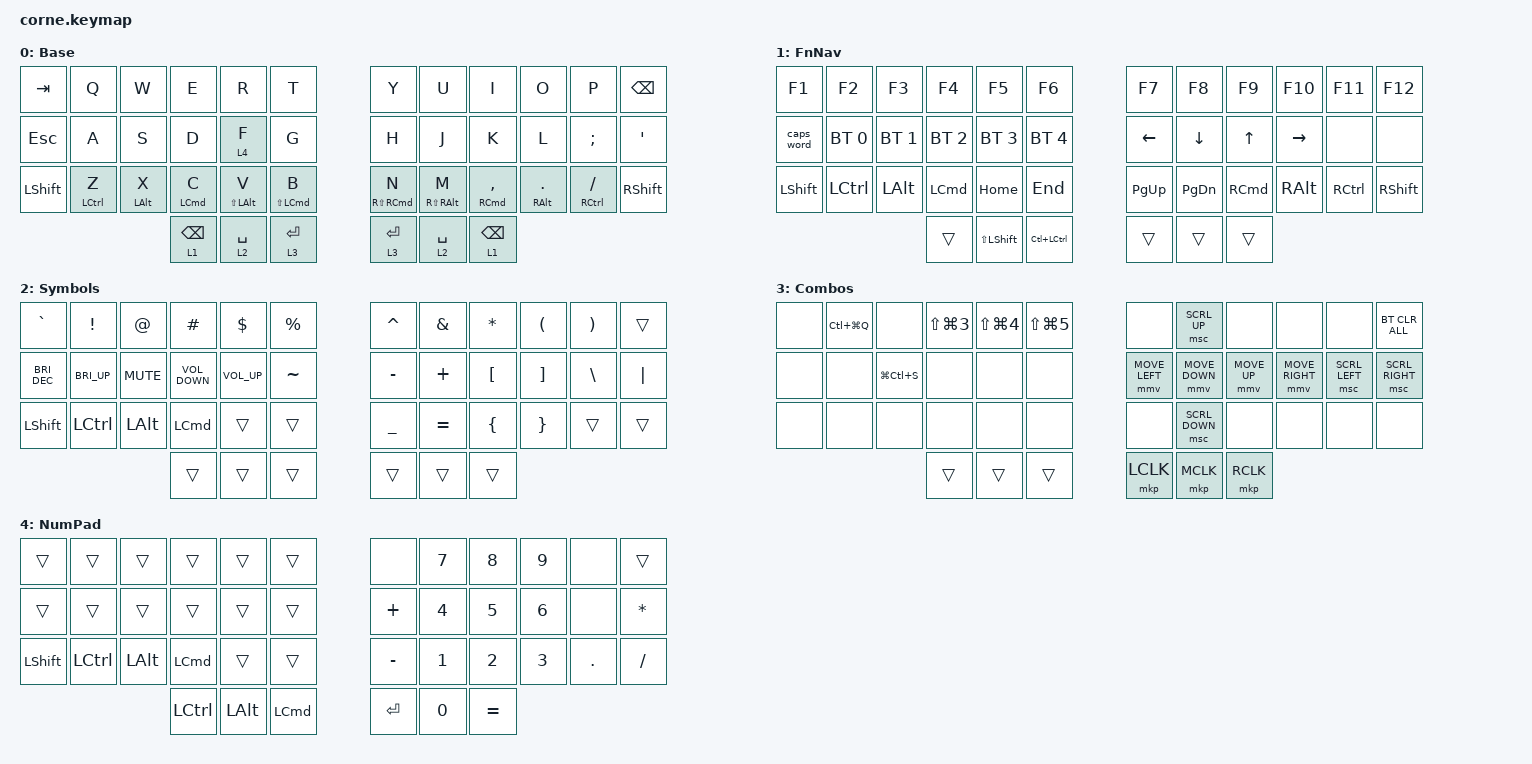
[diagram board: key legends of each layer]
#define ZMK_POINTING_DEFAULT_MOVE_VAL 1500  // default: 600
#define ZMK_POINTING_DEFAULT_SCRL_VAL 20    // default: 10

#include <behaviors.dtsi>
#include <dt-bindings/zmk/bt.h>
#include <dt-bindings/zmk/keys.h>
#include <dt-bindings/zmk/pointing.h>

#define DEF 0
#define NAV 1
#define SYM 2
#define ADJ 3
#define EXTRA 4

/ {
    behaviors {
        hm: homerow_mods {
            compatible = "zmk,behavior-hold-tap";
            label = "HOMEROW_MODS";
            #binding-cells = <2>;
            tapping-term-ms = <200>;
            quick_tap_ms = <0>;
            flavor = "tap-preferred";
            bindings = <&kp>, <&kp>;

            quick-tap-ms = <180>;
            global-quick-tap;
        };

        para: para {
            compatible = "zmk,behavior-tap-dance";
            label = "PARA";
            #binding-cells = <0>;
            bindings = <&kp LEFT_PARENTHESIS>, <&kp RIGHT_PARENTHESIS>;
        };

        caps: caps {
            compatible = "zmk,behavior-caps-word";
            label = "CAPS";
            #binding-cells = <0>;
            continue-list = <MINUS BACKSPACE>;
        };

        paraless: paraless {
            compatible = "zmk,behavior-mod-morph";
            label = "PARALESS";
            bindings = <&kp LEFT_PARENTHESIS>, <&kp LESS_THAN>;

            #binding-cells = <0>;
            mods = <(MOD_LSFT)>;
        };

        paragreat: paragreat {
            compatible = "zmk,behavior-mod-morph";
            label = "PARAGREAT";
            bindings = <&kp RIGHT_PARENTHESIS>, <&kp GREATER_THAN>;

            #binding-cells = <0>;
            mods = <(MOD_LSFT)>;
        };
    };

    macros {
        browsertab: browsertab {
            compatible = "zmk,behavior-macro";
            #binding-cells = <0>;
            bindings =
                <&macro_press>,
                <&kp LCTRL>,
                <&macro_tap>,
                <&kp TAB>,
                <&macro_release>,
                <&kp LCTRL>;
        };
    };

    combos { compatible = "zmk,combos"; };

    //

    keymap {
        compatible = "zmk,keymap";

        DEF {
            display-name = "Base";

            // -----------------------------------------------------------------------------------------
            // |  Q  |  W  |  E  |  R  |  T  |   |  Y  |  U   |  I  |  O  |  P  |
            // |  A  |  S  |  D  |  F  |  G  |   |  H  |  J   |  K  |  L  |  ;  |
            // |  Z  |  X  |  C  |  V  |  B  |   |  N  |  M   |  ,  |  .  |  /  |
            // | GUI | CTRL | SHFT | LWR | SPC |   | ENT | RSE  | BKSP | ALT | ESC |

            bindings = <
&kp TAB         &kp Q               &kp W           &kp E               &kp R               &kp T                     &kp Y                    &kp U                &kp I                    &kp O                 &kp P                    &kp BACKSPACE
&kp ESCAPE      &kp A               &kp S           &kp D               &lt 4 F             &kp G                     &kp H                    &kp J                &kp K                    &kp L                 &kp SEMICOLON            &kp SQT
&kp LEFT_SHIFT  &hm LEFT_CONTROL Z  &hm LEFT_ALT X  &hm LEFT_COMMAND C  &hm LS(LEFT_ALT) V  &hm LS(LEFT_COMMAND) B    &hm RS(RIGHT_COMMAND) N  &hm RS(RIGHT_ALT) M  &hm RIGHT_COMMAND COMMA  &hm RIGHT_ALT PERIOD  &hm RIGHT_CONTROL SLASH  &kp RIGHT_SHIFT
                                                    &lt 1 BACKSPACE     &lt 2 SPACE         &lt 3 RET                 &lt 3 RET                &lt 2 SPACE          &lt 1 BACKSPACE
            >;
        };

        FnNav {
            display-name = "FnNav";

            // -----------------------------------------------------------------------------------------
            // |  TAB |  1  |  2  |  3  |  4  |  5  |   |  6  |  7  |  8  |  9  |  0  | BKSP |
            // | BTCLR| BT1 | BT2 | BT3 | BT4 | BT5 |   | LFT | DWN |  UP | RGT |     |      |
            // | SHFT |     |     |     |     |     |   |     |     |     |     |     |      |
            // | GUI | CTRL | SHFT | LWR | SPC |   | ENT | RSE  | BKSP | ALT | ESC |

            bindings = <
&kp F1          &kp F2            &kp F3        &kp F4            &kp F5              &kp F6                  &kp F7          &kp F8          &kp F9             &kp F10          &kp F11            &kp F12
&caps_word      &bt BT_SEL 0      &bt BT_SEL 1  &bt BT_SEL 2      &bt BT_SEL 3        &bt BT_SEL 4            &kp LEFT_ARROW  &kp DOWN_ARROW  &kp UP_ARROW       &kp RIGHT_ARROW  &none              &none
&kp LEFT_SHIFT  &kp LEFT_CONTROL  &kp LEFT_ALT  &kp LEFT_COMMAND  &kp HOME            &kp END                 &kp PG_UP       &kp PAGE_DOWN   &kp RIGHT_COMMAND  &kp RIGHT_ALT    &kp RIGHT_CONTROL  &kp RIGHT_SHIFT
                                                &trans            &kp LS(LEFT_SHIFT)  &kp LC(LEFT_CONTROL)    &trans          &trans          &trans
            >;
        };

        SYM {
            display-name = "Symbols";

            // -----------------------------------------------------------------------------------------
            // |  TAB |  !  |  @  |  #  |  $  |  %  |   |  ^  |  &  |  *  |  (  |  )  | BKSP |
            // | CTRL |     |     |     |     |     |   |  -  |  =  |  [  |  ]  |  \  |  `   |
            // | SHFT |     |     |     |     |     |   |  _  |  +  |  {  |  }  | "|" |  ~   |
            //                    | GUI |     | SPC |   | ENT |     | ALT |

            bindings = <
&kp GRAVE       &kp EXCLAMATION   &kp AT_SIGN   &kp HASH           &kp DOLLAR       &kp PERCENT    &kp CARET  &kp AMPERSAND  &kp ASTERISK  &kp LEFT_PARENTHESIS  &kp RIGHT_PARENTHESIS  &trans
&kp C_BRI_DEC   &kp C_BRI_UP      &kp K_MUTE    &kp C_VOLUME_DOWN  &kp C_VOLUME_UP  &kp TILDE      &kp MINUS  &kp PLUS       &kp LBKT      &kp RBKT              &kp BSLH               &kp PIPE
&kp LEFT_SHIFT  &kp LEFT_CONTROL  &kp LEFT_ALT  &kp LEFT_COMMAND   &trans           &trans         &kp UNDER  &kp EQUAL      &kp LBRC      &kp RBRC              &trans                 &trans
                                                &trans             &trans           &trans         &trans     &trans         &trans
            >;
        };

        Combos {
            display-name = "Combos";
            bindings = <
&none  &kp LC(LG(Q))  &none          &kp LS(LG(NUMBER_3))  &kp LS(LG(NUMBER_4))  &kp LS(LG(N5))    &none           &msc SCRL_UP    &none         &none            &none           &bt BT_CLR_ALL
&none  &none          &kp LG(LC(S))  &none                 &none                 &none             &mmv MOVE_LEFT  &mmv MOVE_DOWN  &mmv MOVE_UP  &mmv MOVE_RIGHT  &msc SCRL_LEFT  &msc SCRL_RIGHT
&none  &none          &none          &none                 &none                 &none             &none           &msc SCRL_DOWN  &none         &none            &none           &none
                                     &trans                &trans                &trans            &mkp LCLK       &mkp MCLK       &mkp RCLK
            >;
        };

        NumPad {
            display-name = "NumPad";
            bindings = <
&trans          &trans            &trans        &trans            &trans        &trans              &none      &kp N7  &kp N8     &kp N9  &none       &trans
&trans          &trans            &trans        &trans            &trans        &trans              &kp PLUS   &kp N4  &kp N5     &kp N6  &none       &kp ASTERISK
&kp LEFT_SHIFT  &kp LEFT_CONTROL  &kp LEFT_ALT  &kp LEFT_COMMAND  &trans        &trans              &kp MINUS  &kp N1  &kp N2     &kp N3  &kp PERIOD  &kp SLASH
                                                &kp LEFT_CONTROL  &kp LEFT_ALT  &kp LEFT_COMMAND    &kp RET    &kp N0  &kp EQUAL
            >;
        };
    };

    conditional_layers { compatible = "zmk,conditional-layers"; };
};
